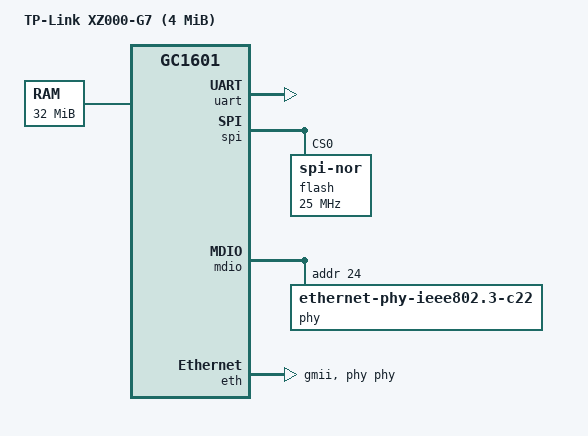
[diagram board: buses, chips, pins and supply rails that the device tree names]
// SPDX-License-Identifier: (GPL-2.0-only OR BSD-2-Clause)
/dts-v1/;
/memreserve/ 0x40800000 0x00112000;
/ {
	model = "TP-Link XZ000-G7 (4 MiB)";
	compatible = "tplink,xz000-g7", "galachip,gc1601";
	#address-cells = <1>;
	#size-cells = <1>;
	aliases { serial0 = &uart; spi0 = &spi; ethernet0 = &eth; };
	chosen { stdout-path = "serial0:115200n8"; };
	memory@40000000 { device_type = "memory"; reg = <0x40000000 0x02000000>; };
	scu: clock-controller@90a00000 {
		compatible = "galachip,gc1601-scu";
		reg = <0x90a00000 0x1000>;
		#clock-cells = <1>;
		bootph-all;
	};
	timer@90200000 {
		compatible = "galachip,gc1601-timer";
		reg = <0x90200000 0x100>;
		clocks = <&scu 5>;
		bootph-all;
	};
	uart: serial@90400000 {
		compatible = "ns16550a";
		reg = <0x90400000 0x1000>;
		reg-shift = <2>;
		reg-io-width = <4>;
		clock-frequency = <33000000>;
		bootph-all;
	};
	spi: spi@a0000000 {
		compatible = "faraday,ftspi020-gc1601";
		reg = <0xa0000000 0x1000>;
		clocks = <&scu 6>;
		#address-cells = <1>;
		#size-cells = <0>;
		flash@0 {
			compatible = "jedec,spi-nor";
			reg = <0>;
			spi-max-frequency = <25000000>;
			spi-rx-bus-width = <1>;
			spi-tx-bus-width = <1>;
		};
	};
	mdio: mdio@90100000 {
		compatible = "galachip,gc1601-mdio";
		reg = <0x90100000 0x18>;
		#address-cells = <1>;
		#size-cells = <0>;
		phy: ethernet-phy@18 {
			compatible = "ethernet-phy-ieee802.3-c22";
			reg = <24>;
		};
	};
	eth: ethernet@90e00000 {
		compatible = "galachip,gc1601-eth";
		reg = <0x90e00000 0x1000>;
		phy-handle = <&phy>;
		phy-mode = "gmii";
	};
};
